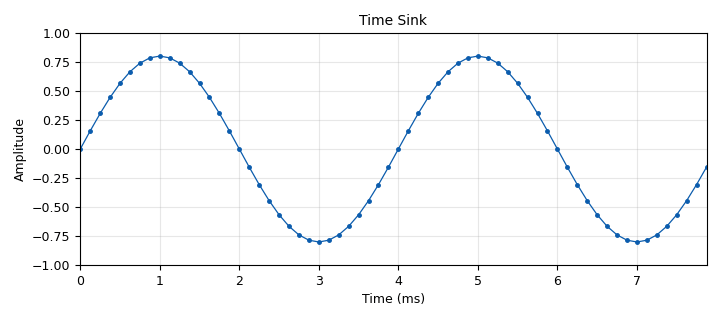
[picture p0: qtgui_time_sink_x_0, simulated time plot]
options:
  parameters:
    generate_options: qt_gui
    id: fg_ch17_001
    output_language: python
    title: FG-CH17-001
  states: {}

blocks:
- name: samp_rate
  id: variable
  parameters:
    value: '8000'
  states: {}
- name: analog_sig_source_x_0
  id: analog_sig_source_x
  parameters:
    amp: '0.8'
    freq: '250'
    offset: '0'
    phase: '0'
    samp_rate: samp_rate
    type: float
    waveform: analog.GR_COS_WAVE
  states: {}
- name: blocks_throttle2_0
  id: blocks_throttle2
  parameters:
    samples_per_second: samp_rate
    type: float
  states: {}
- name: qtgui_time_sink_x_0
  id: qtgui_time_sink_x
  parameters:
    grid: 'True'
    legend: 'False'
    marker1: '0'
    name: '"Time Sink"'
    size: '64'
    srate: samp_rate
    tr_mode: qtgui.TRIG_MODE_NORM
    type: float
  states: {}

connections:
- [analog_sig_source_x_0, '0', blocks_throttle2_0, '0']
- [blocks_throttle2_0, '0', qtgui_time_sink_x_0, '0']

metadata:
  file_format: 1
  grc_version: 3.10.12.0
